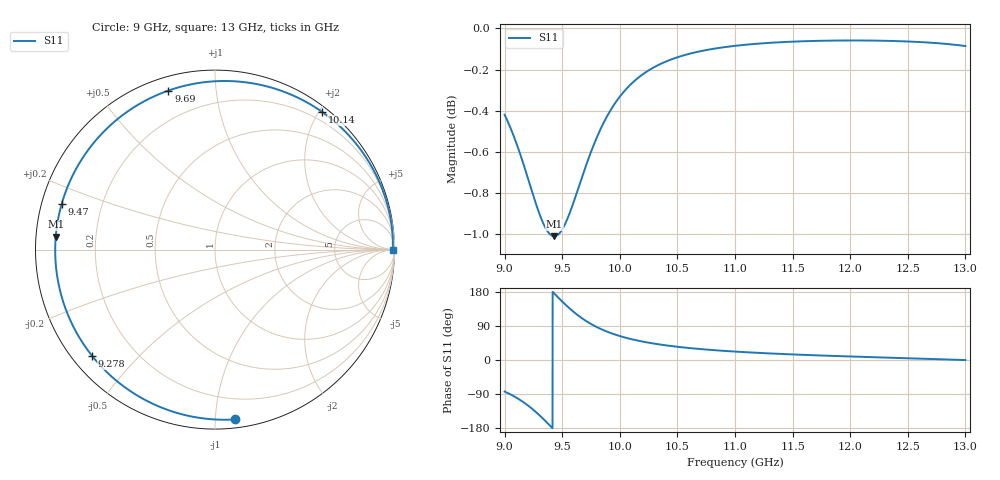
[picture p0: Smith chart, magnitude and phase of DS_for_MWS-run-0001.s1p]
! TOUCHSTONE file generated by CST DESIGN STUDIO
! Date and time: Tue Feb  4 18:31:26 2025
! Project name: C:\Work\MatlabApps\UnitCellOptimizationMatlab\CST\unitcell.cst
! Tree item: Tasks\Sweep1\SPara1\S-Parameters
! Header version: 2024
! Port assignment regex: !\s*Touchstone port\s*([0-9]+)\s*=\s*(CST MWS port|CST DES external port|CST DES block port)\s*(.+)\s* \(\"(.*)\"\)(\s*mode\s*([0-9]+))?.*
! Touchstone port assignment:
! Touchstone port 1 = CST DES external port 1 ("")
# GHz S MA R 50
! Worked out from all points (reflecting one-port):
!   4001 points, 9 GHz to 13 GHz, reference 50 ohm
!   lowest |S11| = -1.0 dB at 9.431 GHz (marker M1), VSWR 17.21, Z = 2.91 + j2.01 ohm
!   phase of S11 starts at -83 deg and turns -277 deg over the sweep
!   S11 on the Smith chart (normalised r, x): 9 GHz: 0.05, -1.12; 9.278 GHz: 0.06, -0.37; 9.47 GHz: 0.06, +0.15; 9.69 GHz: 0.06, +0.75; 10.14 GHz: 0.07, +2.04; 13 GHz: open
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9  0.9528 -83.2
9.083  0.9409 -96.0
9.153  0.9289 -109.2
9.217  0.9168 -123.4
9.278  0.9055 -139.0
9.321  0.8986 -151.1
9.359  0.8939 -162.4
9.395  0.8911 -173.5
9.431  0.8902 175.4
9.47  0.8913 163.3
9.5  0.8936 154.3
9.548  0.8993 140.5
9.594  0.9065 128.3
9.641  0.9146 116.9
9.69  0.9233 106.3
9.76  0.9348 93.3
9.842  0.9464 80.9
9.919  0.9552 71.4
10  0.9625 63.2
10.142  0.9718 52.1
10.304  0.9787 42.9
10.5  0.984 34.9
10.723  0.9876 28.2
11  0.9903 22.2
11.5  0.9926 14.7
12  0.9933 9.3
12.5  0.9927 4.7
13  0.9902 -0.1
